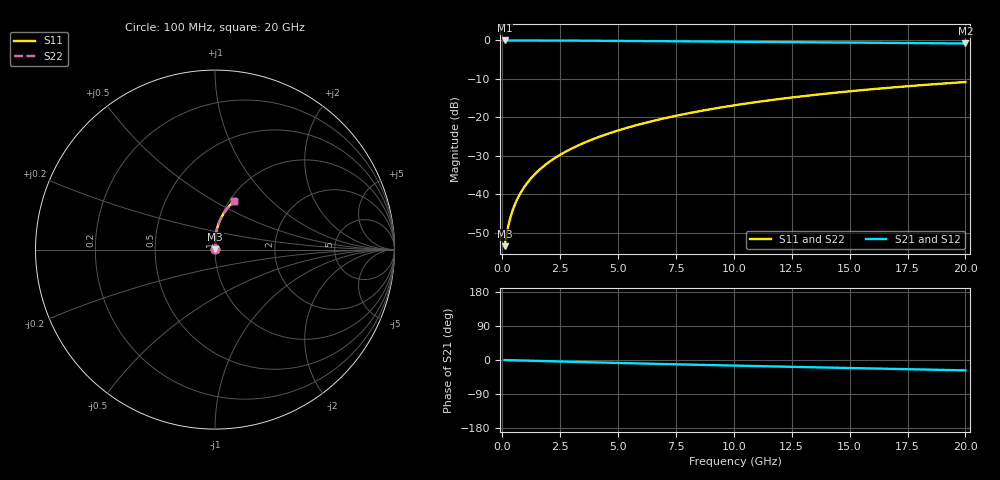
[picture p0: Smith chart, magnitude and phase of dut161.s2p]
! Touchstone file exported from HFSS 2024.1.0
!  File:  C:/UserFiles/LocalFiles/RDL_TSV_Batchsim/temp_RDL_bottom_161_1778697791.aedt
!  Generated:  02:46:03 AM May 14, 2026
!  Design:  RDL_bottom
!  Project:  temp_RDL_bottom_161_1778697791
!  Setup:  Setup1
!  Solution:  Sweep
! Variables:
!  dtsv = 10.80580581um
!  hbump = 3um
!  htsv = 78.25um
!  ldown = 340.65um
!  lrdl = 100um
!  p = 40
!  p1 = 58.15um
!  rhole = 1um
!  t = 450um
!  tdown = 3.67um
!  trdl = 3.915915916um
!  wdown = 23.59um
!  wrdl = 20um
# GHz S MA R 50.000000
! Terminal data exported
! Port[1] = RDL1_T1
! Port[2] = RDL1_T2
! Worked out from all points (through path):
!   200 points, 100 MHz to 20 GHz, reference 50 ohm
!   highest |S21| = -0.01 dB at 100 MHz (marker M1); lowest = -0.8 dB at 20 GHz (marker M2)
!   group delay of S21, straight-line fit = 3.76 ps
!   lowest |S11| = -53.4 dB at 100 MHz (marker M3), VSWR 1.00, Z = 50.2 + j0.14 ohm
!   |S11| at or under -10 dB: start of sweep to end of sweep
!   |S22| runs from -53.4 to -10.8 dB; largest |S21 - S12| = 3.1e-15
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0.1  0.002129 41.1  0.9984 -0.2  0.9984 -0.2  0.002129 41.1
! Gamma 0 0 0 0
! Port Impedance 50 0 50 0
0.2  0.003223 58.6  0.9983 -0.3  0.9983 -0.3  0.003223 58.6
0.3  0.004419 66.6  0.9982 -0.5  0.9982 -0.5  0.004419 66.6
0.4  0.005636 71.3  0.9981 -0.7  0.9981 -0.7  0.005636 71.3
0.5  0.006864 74.4  0.998 -0.8  0.998 -0.8  0.006864 74.4
0.6  0.008101 76.6  0.9979 -1.0  0.9979 -1.0  0.008101 76.6
0.8  0.0106 79.7  0.9977 -1.3  0.9977 -1.3  0.0106 79.7
1.1  0.01441 82.4  0.9973 -1.8  0.9973 -1.8  0.01441 82.4
1.5  0.01955 84.4  0.9967 -2.4  0.9967 -2.4  0.01955 84.4
1.8  0.02346 85.4  0.9961 -2.9  0.9961 -2.9  0.02346 85.4
2.1  0.0274 86.0  0.9954 -3.4  0.9954 -3.4  0.0274 86.0
2.7  0.03541 86.9  0.9938 -4.3  0.9938 -4.3  0.03541 86.9
3.5  0.04636 87.4  0.9913 -5.6  0.9913 -5.6  0.04635 87.4
4.2  0.05618 87.4  0.9887 -6.6  0.9887 -6.6  0.05618 87.4
5  0.06768 87.2  0.9854 -7.8  0.9854 -7.8  0.06767 87.2
5.9  0.08091 86.7  0.9815 -9.1  0.9815 -9.1  0.0809 86.7
6.8  0.09439 86.0  0.9774 -10.4  0.9774 -10.4  0.09439 86.0
8.4  0.1188 84.3  0.9698 -12.6  0.9698 -12.6  0.1188 84.3
10.1  0.1449 82.2  0.9617 -14.9  0.9617 -14.9  0.1448 82.2
13.4  0.1949 77.7  0.9456 -19.2  0.9456 -19.2  0.1948 77.7
16.7  0.2428 73.1  0.9291 -23.3  0.9291 -23.3  0.2428 73.1
20  0.288 68.7  0.9121 -27.3  0.9121 -27.3  0.288 68.7
